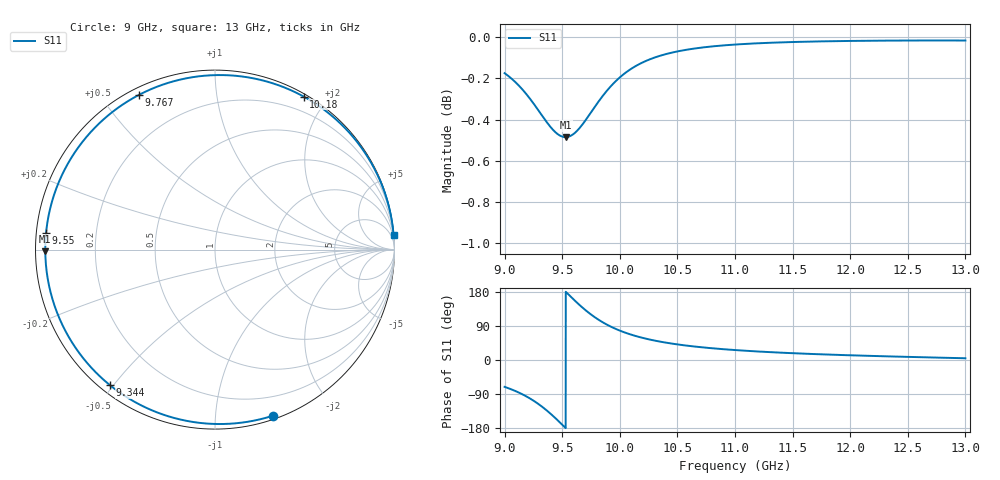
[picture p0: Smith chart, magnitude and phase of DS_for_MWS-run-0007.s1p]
! TOUCHSTONE file generated by CST DESIGN STUDIO
! Date and time: Wed Feb  5 13:37:23 2025
! Project name: C:\Work\MatlabApps\UnitCellOptimizationMatlab\CST\unitcell.cst
! Tree item: Tasks\Sweep1\SPara1\S-Parameters
! Header version: 2024
! Port assignment regex: !\s*Touchstone port\s*([0-9]+)\s*=\s*(CST MWS port|CST DES external port|CST DES block port)\s*(.+)\s* \(\"(.*)\"\)(\s*mode\s*([0-9]+))?.*
! Touchstone port assignment:
! Touchstone port 1 = CST DES external port 1 ("")
# GHz S MA R 50
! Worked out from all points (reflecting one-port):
!   4001 points, 9 GHz to 13 GHz, reference 50 ohm
!   lowest |S11| = -0.5 dB at 9.529 GHz (marker M1), VSWR 35.82, Z = 1.4 - j0.252 ohm
!   phase of S11 starts at -71 deg and turns -285 deg over the sweep
!   S11 on the Smith chart (normalised r, x): 9 GHz: 0.03, -1.40; 9.344 GHz: 0.03, -0.49; 9.55 GHz: 0.03, +0.05; 9.767 GHz: 0.03, +0.62; 10.18 GHz: 0.03, +1.73; 13 GHz: 1, +25
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9  0.9802 -70.9
9.096  0.9751 -82.2
9.202  0.9677 -98.3
9.277  0.9614 -112.6
9.344  0.9555 -127.7
9.417  0.9498 -146.7
9.46  0.9473 -158.9
9.5  0.946 -170.7
9.529  0.9457 -179.4
9.55  0.9458 174.3
9.604  0.9476 158.3
9.664  0.9515 141.5
9.715  0.9557 128.3
9.767  0.9604 116.3
9.816  0.9648 106.1
9.869  0.9691 96.5
9.934  0.9738 86.3
10  0.9778 77.5
10.085  0.982 68.2
10.178  0.9854 59.9
10.325  0.9892 49.9
10.5  0.9921 41.2
10.721  0.9944 33.3
11  0.996 26.2
11.5  0.9974 17.9
12  0.998 12.4
12.5  0.9982 8.2
13  0.9982 4.6
